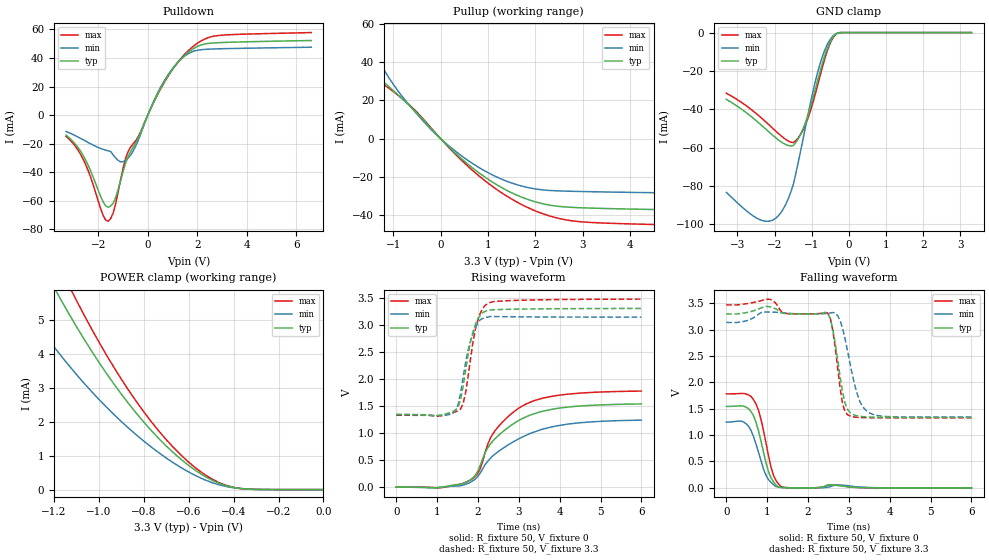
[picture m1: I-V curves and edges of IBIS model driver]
| IBIS file io_buf.ibs created by PYS2IBIS3
| Missouri S&T EMC Lab
[IBIS Ver] 3.2
[File Name] io_buf_s_v32.ibs
[File Rev] 0.2
[Date] November 30, 2025
[Source] Netlist generated by Grok
[Notes] testing the exe by Simon
[Disclaimer] This buffer is not a real buffer. It is a imaginay buffer. What
 is a imaginay buffer? An imagnary buffer is a buffer that is...
[Copyright] Missouri S&T EMC Lab
[Component] MCM Driver 1
[Manufacturer] MegaFLOPS Inc.
[Package]
| variable   typ   min   max
R_pkg 0 NA NA
L_pkg 0H NA NA
C_pkg 0F NA NA
[Pin]  signal_name   model_name   R_pin   L_pin   C_pin
vss   vss   GND
vdd   vdd   POWER
| oe oe dummy
| in in dummy
out   out   driver
| End of Component
| Models and submodels in the file (1): driver (I/O)
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[Model] driver
Model_type I/O
Polarity Non-Inverting
Enable Active-High
Vinl  = 0.8V
Vinh  = 2V
C_comp 1.2000pF 1.0000pF 1.4000pF
[Temperature Range] 27.0000 100.0000 0.0000
[Voltage Range] 3.3000V 3.0000V 3.6000V
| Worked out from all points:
|   slope of the pulldown table from 0 to 0.495 V, typ, clamps not added: 27.4 ohm
|   slope of the pullup table from 0 to 0.495 V, typ, clamps not added: 42.7 ohm
|   GND clamp passes 1 mA (typ) near -0.36 V on its own axis
|   POWER clamp passes 1 mA (typ) near -0.65 V on its own axis
|   rising waveform, R_fixture 50, V_fixture 0: 20-80 % time 992ps typ, 1.23ns min, 863ps max; typ from 0 V to 1.54 V
|   rising waveform, R_fixture 50, V_fixture 3.3: 20-80 % time 292ps typ, 288ps min, 282ps max; typ from 1.34 V to 3.3 V
|   falling waveform, R_fixture 50, V_fixture 0: 20-80 % time 301ps typ, 313ps min, 305ps max; typ from 1.54 V to 0 V
|   falling waveform, R_fixture 50, V_fixture 3.3: 20-80 % time 241ps typ, 321ps min, 221ps max; typ from 3.3 V to 1.34 V
[Pulldown]
| Voltage   I(typ)   I(min)   I(max)
-3.3V     -14.11mA   -11.49mA   -14.92mA
-2.6V     -28.62mA   -17.33mA   -31.26mA
-1.8V     -60.89mA   -24.01mA   -70.36mA
-1.6V     -64.58mA   -24.99mA   -74.37mA
-1.3V     -57.87mA   -29.98mA   -62.22mA
-1V       -39.62mA   -32.58mA   -37.38mA
-800mV    -29.26mA   -30.26mA   -25.73mA
-400mV    -16.61mA   -18.23mA   -15.56mA
600mV     21.34mA    22.16mA    20.91mA
1.7V      44.86mA    43.6mA     46.12mA
2.8V      50.65mA    46.37mA    55.62mA
6.6V      52.2mA     47.56mA    57.78mA
[Pullup]
| Voltage   I(typ)   I(min)   I(max)
-3.3V     52.9mA     288mA      32.03mA
-2.9V     57.26mA    200.3mA    40.86mA
-2.5V     55.97mA    137.1mA    43.93mA
-2.2V     50.87mA    101.5mA    42.91mA
-1.7V     40.21mA    61.42mA    36.21mA
-1V       25.06mA    28.32mA    24.59mA
-200mV    5.278mA    4.74mA     5.561mA
600mV     -13.78mA   -11.72mA   -14.92mA
1.5V      -28.2mA    -23.1mA    -31.5mA
2.2V      -34.15mA   -26.79mA   -39.49mA
2.9V      -35.95mA   -27.49mA   -43.18mA
6.6V      -37.71mA   -28.71mA   -45.68mA
[GND Clamp]
| Voltage   I(typ)   I(min)   I(max)
-3.3V     -34.82mA   -83.32mA   -31.62mA
-2.367V   -48.08mA   -97.77mA   -44.32mA
-2.1V     -52.69mA   -98.1mA    -49.02mA
-1.833V   -56.87mA   -93.93mA   -53.7mA
-1.633V   -58.86mA   -86.63mA   -56.5mA
-1.5V     -58.92mA   -79.34mA   -57.37mA
-1.233V   -50.13mA   -55.35mA   -50.74mA
-1.033V   -38.66mA   -36.46mA   -40.67mA
-766.7mV  -19.68mA   -15.62mA   -21.83mA
-566.7mV  -7.562mA   -5.625mA   -8.589mA
-366.7mV  -1.04mA    -747.4uA   -1.186mA
3.3V      806.1pA    7.276uA    187.3pA
[POWER Clamp]
| Voltage   I(typ)   I(min)   I(max)
-3.3V     69.1mA     63.7mA     73.07mA
-1.367V   8.162mA    5.773mA    9.455mA
-1.2V     5.986mA    4.223mA    6.947mA
-1.167V   5.586mA    3.941mA    6.483mA
-1.133V   5.198mA    3.669mA    6.033mA
-1.1V     4.823mA    3.406mA    5.596mA
-966.7mV  3.44mA     2.442mA    3.986mA
-833.3mV  2.26mA     1.618mA    2.607mA
-700mV    1.29mA     934.1uA    1.477mA
-566.7mV  553.4uA    405uA      627uA
-400mV    62.27uA    53.24uA    65.79uA
0V        806.1pA    6.115nA    316.9pA
[Ramp]
| variable   typ   min   max
dV/dt_r 0.9222/0.9946n 0.7428/1.233n 1.0644/0.8621n
dV/dt_f 1.1772/0.2405n 1.0914/0.3162n 1.2714/0.2077n
R_load = 50
[Rising Waveform]
R_fixture = 50
V_fixture = 0
|time   V(typ)   V(min)   V(max)
0s        7.302nV    59.67nV    2.904nV
1.091ns   -1.788mV   -1.285mV   -9.494mV
1.818ns   137.8mV    92.53mV    133.6mV
2.061ns   410.1mV    266.5mV    349mV
2.242ns   730.6mV    479.3mV    796.6mV
2.485ns   942mV      650.1mV    1.106V
2.909ns   1.191V     855.7mV    1.41V
3.333ns   1.345V     1.007V     1.585V
4.303ns   1.486V     1.173V     1.724V
6ns       1.537V     1.238V     1.774V
[Rising Waveform]
R_fixture = 50
V_fixture = 3.3
|time   V(typ)   V(min)   V(max)
0s        1.338V     1.342V     1.329V
1.333ns   1.381V     1.349V     1.359V
1.455ns   1.426V     1.419V     1.393V
1.576ns   1.617V     1.735V     1.443V
1.697ns   2.151V     2.298V     1.737V
1.879ns   2.867V     2.837V     2.681V
1.939ns   3.006V     2.948V     2.92V
2.061ns   3.175V     3.092V     3.217V
2.242ns   3.261V     3.138V     3.393V
6ns       3.299V     3.139V     3.471V
[Falling Waveform]
R_fixture = 50
V_fixture = 0
|time   V(typ)   V(min)   V(max)
0s        1.545V     1.247V     1.783V
484.8ps   1.53V      1.216V     1.781V
606.1ps   1.444V     1.085V     1.732V
727.3ps   1.243V     827.9mV    1.59V
848.5ps   884.8mV    514.3mV    1.3V
1.03ns    310.2mV    158.6mV    616.4mV
1.152ns   118mV      62.07mV    242.2mV
1.333ns   9.86mV     6.418mV    23.85mV
2.727ns   44.67mV    53.55mV    48.12mV
6ns       -36.31nV   1.569uV    -574.1nV
[Falling Waveform]
R_fixture = 50
V_fixture = 3.3
|time   V(typ)   V(min)   V(max)
0s        3.3V       3.139V     3.472V
1.03ns    3.439V     3.335V     3.58V
1.394ns   3.311V     3.321V     3.318V
2.485ns   3.307V     3.31V      3.316V
2.606ns   3.011V     3.325V     2.987V
2.849ns   1.803V     3.011V     1.577V
3.03ns    1.427V     2.348V     1.362V
3.273ns   1.357V     1.63V      1.335V
3.515ns   1.343V     1.417V     1.33V
6ns       1.338V     1.342V     1.329V
